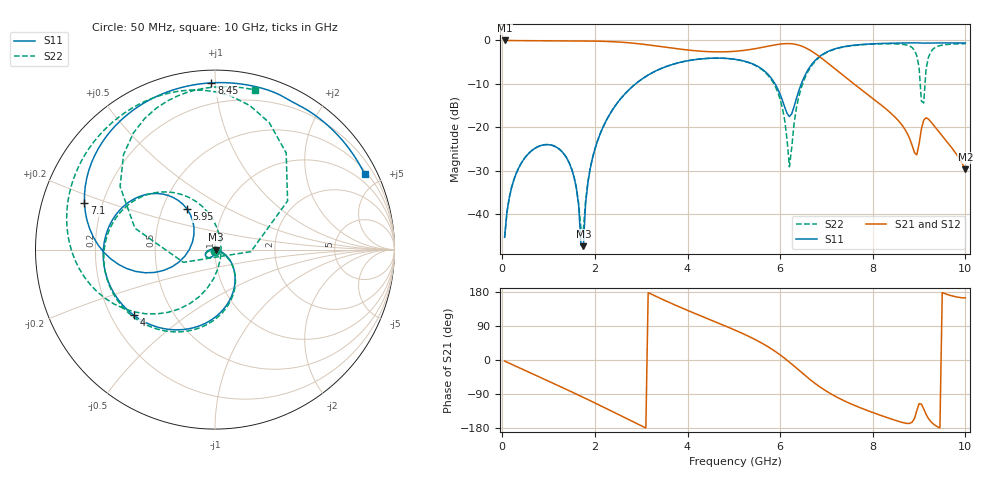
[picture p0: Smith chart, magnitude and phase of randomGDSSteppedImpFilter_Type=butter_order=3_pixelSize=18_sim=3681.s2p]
! freq	dB(S11)	phase(S11)	dB(S12)	phase(S12)
!  dB(S21)	phase(S21)	dB(S22)	phase(S22)
!S-par simulation data
#  GHz  S  DB  R 50
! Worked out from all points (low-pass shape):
!   200 points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, 50 MHz to 10 GHz, reference 50 ohm
!   highest |S21| = -0.02 dB at 50 MHz (marker M1); lowest = -29.7 dB at 10 GHz (marker M2)
!   |S21| within 3 dB of the highest: start of sweep to 6.755 GHz
!   lowest |S11| = -47.4 dB at 1.75 GHz (marker M3), VSWR 1.01, Z = 50.4 - j0.0357 ohm
!   |S11| at or under -10 dB: start of sweep to 2.881 GHz; 5.888 GHz to 6.457 GHz (569.4 MHz wide, 9.22 % of centre)
!   |S22| runs from -45.4 to -0.8 dB; largest |S21 - S12| = 0
!   S11 on the Smith chart (normalised r, x): 50 MHz: 1.00, -0.01; 4 GHz: 0.29, -0.33; 5.95 GHz: 0.67, +0.33; 7.1 GHz: 0.13, +0.17; 8.45 GHz: 0.07, +0.98; 10 GHz: 0.63, +4.12
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0.05  -45.40 -73.4  -0.02 -2.8  -0.02 -2.8  -45.39 -73.3
0.35  -29.49 -105.0  -0.06 -19.6  -0.06 -19.6  -29.48 -104.2
1  -24.04 -145.7  -0.11 -56.0  -0.11 -56.0  -24.03 -142.8
1.5  -29.73 -175.2  -0.13 -84.2  -0.13 -84.2  -29.67 -166.5
1.75  -47.44 -4.8  -0.14 -98.7  -0.14 -98.7  -43.67 -58.4
1.85  -32.71 -14.7  -0.15 -104.5  -0.15 -104.5  -32.49 -26.3
2.15  -20.61 -33.4  -0.21 -122.3  -0.21 -122.3  -20.59 -35.2
3.4  -6.63 -108.7  -1.39 163.3  -1.39 163.3  -6.62 -105.9
4  -4.70 -141.1  -2.22 130.9  -2.22 130.9  -4.70 -137.4
5.05  -4.40 166.9  -2.50 77.5  -2.50 77.5  -4.43 170.2
5.95  -11.24 124.6  -0.93 17.9  -0.93 17.9  -12.00 106.5
6.2  -17.57 161.9  -0.75 -5.7  -0.75 -5.7  -29.13 14.7
6.4  -11.71 -158.1  -1.09 -26.4  -1.09 -26.4  -13.08 -101.6
6.7  -5.29 -171.3  -2.63 -56.8  -2.63 -56.8  -5.55 -137.4
7.1  -2.25 160.4  -5.83 -89.6  -5.83 -89.6  -2.34 -172.0
8.35  -0.66 95.6  -16.39 -153.7  -16.39 -153.7  -0.78 117.9
8.45  -0.64 91.2  -17.37 -157.8  -17.37 -157.8  -0.79 112.2
8.95  -0.57 69.6  -26.39 -133.8  -26.39 -133.8  -3.50 53.6
9.1  -0.64 63.4  -18.38 -129.0  -18.38 -129.0  -14.43 -158.1
9.2  -0.63 59.5  -18.12 -154.1  -18.12 -154.1  -3.94 146.3
9.4  -0.59 51.3  -20.70 -176.3  -20.70 -176.3  -1.38 112.5
10  -0.59 26.7  -29.73 163.9  -29.73 163.9  -0.75 75.8
